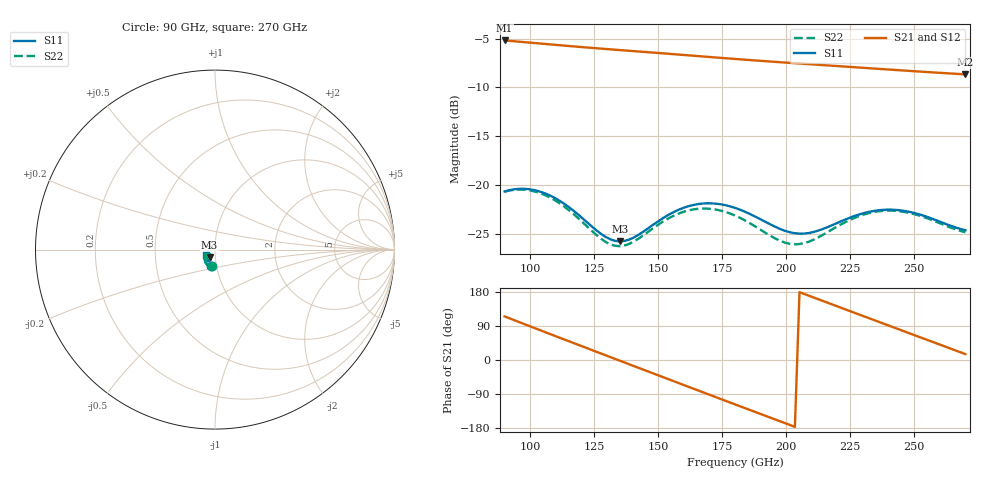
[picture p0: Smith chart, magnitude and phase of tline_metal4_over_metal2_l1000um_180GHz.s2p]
#  GHZ S DB R 50
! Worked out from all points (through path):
!   101 points, 90 GHz to 270 GHz, reference 50 ohm
!   highest |S21| = -5.18 dB at 90 GHz (marker M1); lowest = -8.7 dB at 270 GHz (marker M2)
!   group delay of S21, straight-line fit = 7.08 ps
!   lowest |S11| = -25.8 dB at 135 GHz (marker M3), VSWR 1.11, Z = 46.9 - j3.9 ohm
!   |S11| at or under -10 dB: start of sweep to end of sweep
!   |S22| runs from -26.3 to -20.5 dB; largest |S21 - S12| = 7.5e-13
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90  -20.67 -103.1  -5.18 115.0  -5.18 115.0  -20.69 -101.4
97.2  -20.40 -113.4  -5.35 96.1  -5.35 96.1  -20.48 -112.2
104.4  -20.73 -123.7  -5.51 77.3  -5.51 77.3  -20.90 -122.8
111.6  -21.65 -132.4  -5.67 58.6  -5.67 58.6  -21.90 -131.8
120.6  -23.46 -138.1  -5.87 35.3  -5.87 35.3  -23.86 -137.5
127.8  -25.05 -135.5  -6.02 16.8  -6.02 16.8  -25.55 -134.2
135  -25.79 -126.2  -6.17 -1.8  -6.17 -1.8  -26.28 -124.1
142.2  -25.14 -117.5  -6.31 -20.3  -6.31 -20.3  -25.53 -115.3
151.2  -23.52 -115.8  -6.49 -43.5  -6.49 -43.5  -23.87 -114.2
158.4  -22.50 -120.1  -6.64 -61.9  -6.64 -61.9  -22.90 -119.2
165.6  -21.97 -126.9  -6.79 -80.4  -6.79 -80.4  -22.45 -126.3
172.8  -21.93 -134.1  -6.94 -98.7  -6.94 -98.7  -22.54 -133.9
180  -22.36 -140.5  -7.08 -117.1  -7.08 -117.1  -23.14 -140.2
189  -23.40 -145.2  -7.26 -139.9  -7.26 -139.9  -24.44 -143.9
196.2  -24.36 -144.6  -7.39 -158.2  -7.39 -158.2  -25.56 -141.4
203.4  -24.96 -140.1  -7.52 -176.4  -7.52 -176.4  -26.09 -134.2
210.6  -24.84 -134.5  -7.65 165.3  -7.65 165.3  -25.63 -126.9
226.8  -23.18 -132.8  -7.93 124.3  -7.93 124.3  -23.37 -126.7
241.2  -22.54 -141.6  -8.19 88.0  -8.19 88.0  -22.64 -137.4
253.8  -23.17 -148.8  -8.40 56.3  -8.40 56.3  -23.30 -145.6
262.8  -24.05 -149.8  -8.55 33.7  -8.55 33.7  -24.23 -147.1
270  -24.65 -147.1  -8.66 15.6  -8.66 15.6  -24.86 -144.6
